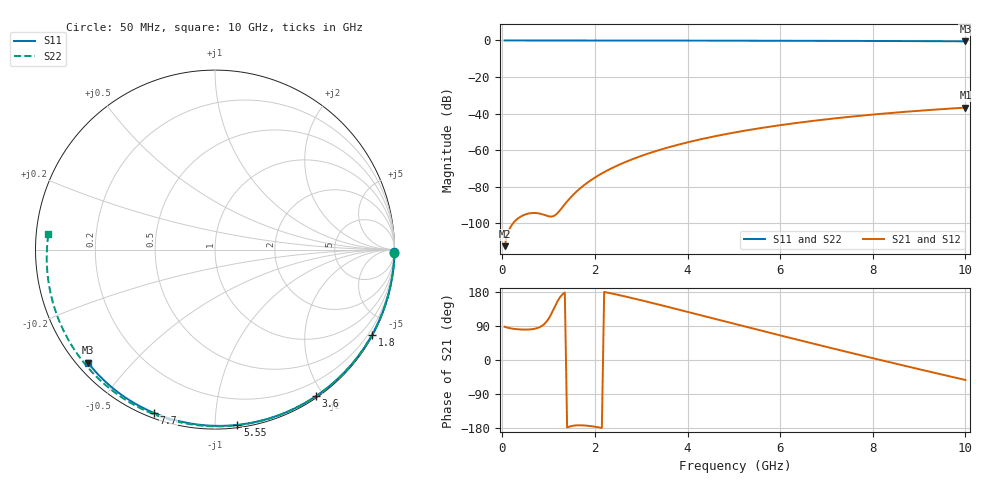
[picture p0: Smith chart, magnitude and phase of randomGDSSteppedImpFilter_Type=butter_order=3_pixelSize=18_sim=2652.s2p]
! freq	dB(S11)	phase(S11)	dB(S12)	phase(S12)
!  dB(S21)	phase(S21)	dB(S22)	phase(S22)
!S-par simulation data
#  GHz  S  DB  R 50
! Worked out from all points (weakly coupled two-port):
!   200 points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, 50 MHz to 10 GHz, reference 50 ohm
!   highest |S21| = -36.79 dB at 10 GHz (marker M1); lowest = -112.6 dB at 50 MHz (marker M2)
!   lowest |S11| = -0.5 dB at 10 GHz (marker M3), VSWR 37.15, Z = 1.54 - j19 ohm
!   |S11| at or under -10 dB: nowhere
!   |S22| runs from -0.6 to 0.0 dB; largest |S21 - S12| = 0
!   S11 on the Smith chart (normalised r, x): 50 MHz: open; 1.8 GHz: 0.03, -3.95; 3.6 GHz: 0.02, -1.90; 5.55 GHz: 0.02, -1.14; 7.7 GHz: 0.02, -0.69; 10 GHz: 0.03, -0.38
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0.05  -0.00 -0.8  -112.63 87.8  -112.63 87.8  -0.00 -1.0
0.45  -0.01 -7.2  -95.75 80.3  -95.75 80.3  -0.01 -9.3
0.85  -0.02 -13.5  -95.05 89.6  -95.05 89.6  -0.02 -17.5
1.25  -0.02 -19.8  -92.86 166.1  -92.86 166.1  -0.03 -25.6
1.7  -0.03 -26.8  -80.56 -172.3  -80.56 -172.3  -0.04 -34.6
1.75  -0.04 -27.6  -79.53 -172.5  -79.53 -172.5  -0.05 -35.6
1.8  -0.04 -28.4  -78.55 -173.0  -78.55 -173.0  -0.05 -36.6
2.1  -0.04 -33.0  -73.52 -178.1  -73.52 -178.1  -0.05 -42.5
2.5  -0.05 -39.1  -68.31 172.0  -68.31 172.0  -0.06 -50.4
2.9  -0.06 -45.1  -64.14 160.6  -64.14 160.6  -0.08 -58.1
3.4  -0.07 -52.5  -59.91 145.6  -59.91 145.6  -0.09 -67.5
3.6  -0.07 -55.4  -58.44 139.4  -58.44 139.4  -0.10 -71.2
4.3  -0.09 -65.5  -54.02 117.7  -54.02 117.7  -0.12 -84.0
5.05  -0.12 -75.9  -50.23 94.3  -50.23 94.3  -0.15 -97.4
5.55  -0.14 -82.7  -48.09 78.8  -48.09 78.8  -0.18 -106.1
6.1  -0.16 -90.0  -46.03 61.9  -46.03 61.9  -0.21 -115.6
6.7  -0.19 -97.8  -44.06 43.7  -44.06 43.7  -0.25 -125.9
7.7  -0.25 -110.4  -41.30 13.7  -41.30 13.7  -0.33 -143.1
8.35  -0.30 -118.4  -39.80 -5.4  -39.80 -5.4  -0.40 -154.4
9.2  -0.38 -128.7  -38.11 -30.0  -38.11 -30.0  -0.50 -169.8
9.6  -0.42 -133.5  -37.42 -41.4  -37.42 -41.4  -0.55 -177.4
10  -0.47 -138.3  -36.79 -52.7  -36.79 -52.7  -0.61 174.7
